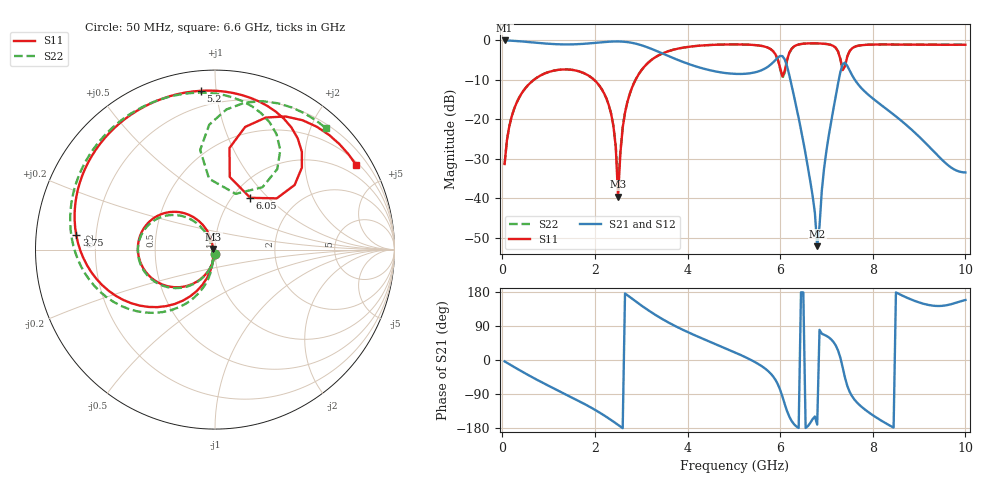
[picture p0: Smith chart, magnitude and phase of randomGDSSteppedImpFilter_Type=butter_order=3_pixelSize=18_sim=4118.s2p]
! freq	dB(S11)	phase(S11)	dB(S12)	phase(S12)
!  dB(S21)	phase(S21)	dB(S22)	phase(S22)
!S-par simulation data
#  GHz  S  DB  R 50
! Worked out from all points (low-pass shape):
!   200 points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, 50 MHz to 10 GHz, reference 50 ohm
!   highest |S21| = -0.01 dB at 50 MHz (marker M1); lowest = -52.1 dB at 6.8 GHz (marker M2)
!   |S21| within 3 dB of the highest: start of sweep to 3.4 GHz
!   lowest |S11| = -39.6 dB at 2.5 GHz (marker M3), VSWR 1.02, Z = 49 + j0.354 ohm
!   |S11| at or under -10 dB: start of sweep to 679.9 MHz; 1.984 GHz to 2.877 GHz (893.2 MHz wide, 36.8 % of centre)
!   |S22| runs from -36.0 to -0.7 dB; largest |S21 - S12| = 0
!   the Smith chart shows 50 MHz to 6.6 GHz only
!   S11 on the Smith chart (normalised r, x): 50 MHz: 1.00, -0.05; 3.75 GHz: 0.13, +0.05; 5.2 GHz: 0.11, +0.91; 6.05 GHz: 1.21, +0.79; 6.6 GHz: 0.59, +3.51
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0.05  -31.28 -93.6  -0.01 -3.7  -0.01 -3.7  -31.28 -93.5
0.5  -12.07 -126.5  -0.33 -35.6  -0.33 -35.6  -12.07 -125.6
1.75  -8.23 153.9  -0.87 -114.4  -0.87 -114.4  -8.23 157.5
2.3  -16.39 116.1  -0.32 -154.2  -0.32 -154.2  -16.38 122.2
2.5  -39.55 159.9  -0.26 -171.1  -0.26 -171.1  -35.99 174.3
2.6  -22.06 -100.4  -0.30 -180.0  -0.30 -180.0  -21.93 -99.8
2.75  -13.63 -109.6  -0.50 166.5  -0.50 166.5  -13.60 -106.1
3.4  -3.62 -162.5  -3.01 112.0  -3.01 112.0  -3.61 -156.3
3.75  -2.19 174.1  -4.74 88.6  -4.74 88.6  -2.18 -178.7
5.05  -1.00 103.6  -8.48 18.6  -8.48 18.6  -1.00 114.9
5.2  -1.03 95.2  -8.47 10.3  -8.47 10.3  -1.02 107.1
6.05  -9.14 55.7  -3.97 -96.8  -3.97 -96.8  -9.59 69.6
6.25  -2.06 68.9  -11.48 -161.3  -11.48 -161.3  -2.12 85.3
6.6  -0.75 31.0  -32.23 -174.3  -32.23 -174.3  -0.76 47.7
6.7  -0.73 22.2  -39.26 -156.2  -39.26 -156.2  -0.73 38.9
6.8  -0.75 13.4  -52.09 -170.4  -52.09 -170.4  -0.75 30.2
7  -0.91 -5.2  -27.86 63.6  -27.86 63.6  -0.90 11.7
7.35  -7.52 -32.7  -6.02 -19.6  -6.02 -19.6  -7.35 -16.1
7.6  -1.66 -28.2  -9.73 -103.8  -9.73 -103.8  -1.65 -12.2
8.35  -1.03 -95.2  -17.85 -171.8  -17.85 -171.8  -1.01 -80.2
9.2  -1.09 -156.9  -26.69 145.3  -26.69 145.3  -1.05 -140.6
10  -1.10 152.0  -33.43 158.3  -33.43 158.3  -1.08 172.3
